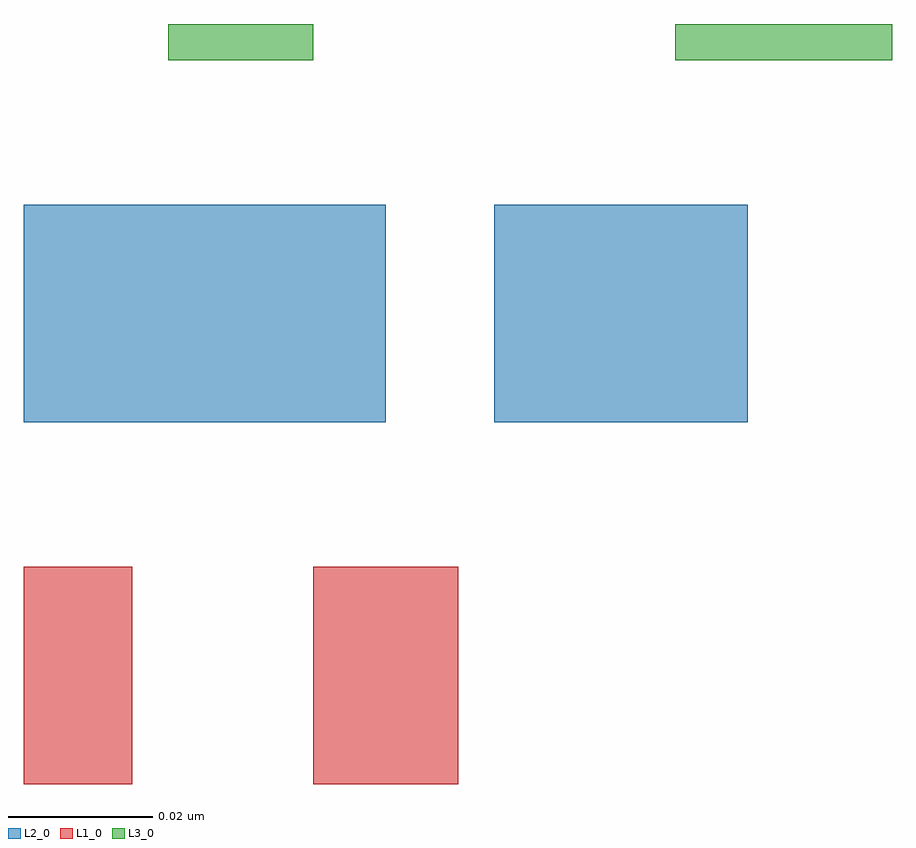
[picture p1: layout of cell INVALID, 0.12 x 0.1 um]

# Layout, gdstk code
import gdstk
lib = gdstk.Library(unit=1e-6, precision=1e-09)
def R(c, l, rs):  # rectangles x0, y0, x1, y1
    for r in rs: c.add(gdstk.rectangle(r[:2], r[2:], *l))
L1_0 = (1, 0)
L2_0 = (2, 0)
L3_0 = (3, 0)

invalid = lib.new_cell('INVALID')
R(invalid, L1_0, [(0,0,0.015,0.03), (0.04,0,0.06,0.03)])
R(invalid, L2_0, [(0,0.05,0.05,0.08), (0.065,0.05,0.1,0.08)])
R(invalid, L3_0, [(0.02,0.1,0.04,0.105), (0.09,0.1,0.12,0.105)])

lib.write_gds('INVALID.gds')
